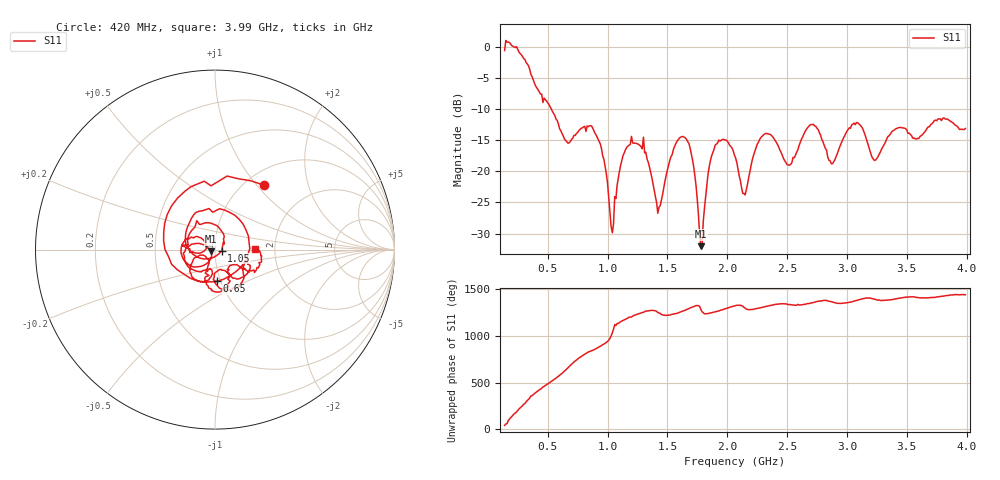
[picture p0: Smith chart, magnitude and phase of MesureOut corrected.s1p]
!Created with skrf (http://scikit-rf.org).
# MHz S RI R 50.0
!freq ReS11 ImS11
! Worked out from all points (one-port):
!   386 points, 140 MHz to 3.99 GHz, reference 50 ohm
!   lowest |S11| = -32.0 dB at 1.78 GHz (marker M1), VSWR 1.05, Z = 47.7 - j0.848 ohm
!   |S11| at or under -10 dB: 529.5 MHz to end of sweep
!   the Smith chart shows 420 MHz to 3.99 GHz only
!   S11 on the Smith chart (normalised r, x): 420 MHz: 1.21, +1.09; 650 MHz: 0.96, -0.35; 1.05 GHz: 1.08, -0.01; 3.99 GHz: 1.56, +0.00
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140  0.689 0.6218
160  0.5294 0.9458
170  -0.0561 1.085
220  -0.9689 0.2196
260  -0.7123 -0.5558
300  -0.0156 -0.7982
350  0.5966 -0.2686
420  0.2703 0.3596
520  -0.267 0.1933
630  -0.0638 -0.1808
650  0.0125 -0.1764
870  -0.118 0.1949
1050  0.0374 -0.00562
1110  0.0338 0.1071
1300  -0.1862 0.0233
1420  -0.0452 0.00886
1590  -0.1737 0.0429
1700  -0.0994 -0.096
1780  -0.0235 -0.00888
1900  -0.1623 0.00653
2070  -0.0552 -0.1152
2150  -0.0517 -0.0387
2310  -0.1297 -0.1503
2550  -0.0424 -0.122
3030  0.0475 -0.2159
3230  0.0846 -0.0881
3510  0.1843 -0.0818
3990  0.2202 0.00107
